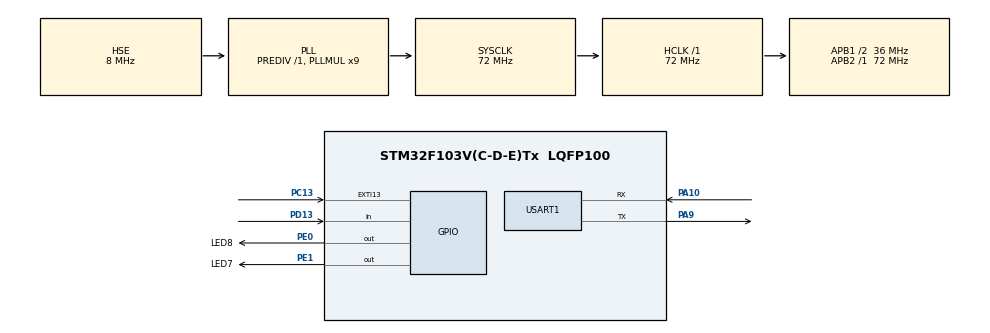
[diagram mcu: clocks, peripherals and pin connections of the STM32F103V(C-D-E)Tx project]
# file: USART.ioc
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Mcu.Family=STM32F1
Mcu.Name=STM32F103V(C-D-E)Tx
Mcu.Package=LQFP100
NVIC.EXTI15_10_IRQn=true\:0\:1\:true\:false\:true\:true\:true
NVIC.PriorityGroup=NVIC_PRIORITYGROUP_2
NVIC.USART1_IRQn=true\:0\:0\:false\:false\:true\:true\:true
OSC_IN.Mode=HSE-External-Oscillator
OSC_IN.Signal=RCC_OSC_IN
OSC_OUT.Mode=HSE-External-Oscillator
OSC_OUT.Signal=RCC_OSC_OUT
PA10.Mode=Asynchronous
PA10.Signal=USART1_RX
PA9.Mode=Asynchronous
PA9.Signal=USART1_TX
PC13-TAMPER-RTC.GPIO_ModeDefaultEXTI=GPIO_MODE_IT_FALLING
PC13-TAMPER-RTC.GPIO_PuPd=GPIO_PULLUP
PC13-TAMPER-RTC.Signal=GPXTI13
PD13.GPIO_PuPd=GPIO_PULLUP
PD13.Signal=GPIO_Input
PE0.GPIO_Label=LED8
PE0.PinState=GPIO_PIN_RESET
PE0.Signal=GPIO_Output
PE1.GPIO_Label=LED7
PE1.Signal=GPIO_Output
ProjectManager.HeapSize=0x200
ProjectManager.StackSize=0x400
ProjectManager.TargetToolchain=MDK-ARM V5
RCC.AHBFreq_Value=72000000
RCC.APB1CLKDivider=RCC_HCLK_DIV2
RCC.APB1Freq_Value=36000000
RCC.APB1TimFreq_Value=72000000
RCC.APB2Freq_Value=72000000
RCC.APB2TimFreq_Value=72000000
RCC.HCLKFreq_Value=72000000
RCC.PLLMUL=RCC_PLL_MUL9
RCC.PLLSourceVirtual=RCC_PLLSOURCE_HSE
RCC.SYSCLKFreq_VALUE=72000000
RCC.SYSCLKSource=RCC_SYSCLKSOURCE_PLLCLK
RCC.USBFreq_Value=72000000
USART1.VirtualMode=VM_ASYNC
VP_SYS_VS_ND.Mode=No_Debug
board=custom

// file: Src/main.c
/* USER CODE BEGIN Header */
/**
  ******************************************************************************
  * @file           : main.c
  * @brief          : Main program body
  ******************************************************************************
  * @attention
  *
  * <h2><center>&copy; Copyright (c) 2021 STMicroelectronics.
  * All rights reserved.</center></h2>
  *
  * This software component is licensed by ST under BSD 3-Clause license,
  * the "License"; You may not use this file except in compliance with the
  * License. You may obtain a copy of the License at:
  *                        opensource.org/licenses/BSD-3-Clause
  *
  ******************************************************************************
  */
/* USER CODE END Header */

#include "main.h"
#include "usart.h"
#include "gpio.h"

void SystemClock_Config(void);

/* USER CODE BEGIN 0 */
void InitXXX(void);
uint8_t flag = 0;
/* USER CODE END 0 */

int main(void)
{
  /* USER CODE BEGIN 1 */
	uint8_t len;
  /* USER CODE END 1 */

  /* MCU Configuration--------------------------------------------------------*/

  /* Reset of all peripherals, Initializes the Flash interface and the Systick. */
  HAL_Init();

  /* Configure the system clock */
  SystemClock_Config();

  /* Initialize all configured peripherals */
  MX_GPIO_Init();
  MX_USART1_UART_Init();

  /* USER CODE BEGIN 2 */
  InitXXX();
  /* USER CODE END 2 */

  /* Infinite loop */
  /* USER CODE BEGIN WHILE */
  while (1)
  {
		if(USART_RX_STA&0x8000)
		{
			len=USART_RX_STA&0x3fff;//得到此次接收到的数据长度
			printf("\r\n您发送的消息为:\r\n");
			HAL_UART_Transmit(&huart1,(uint8_t*)USART_RX_BUF,len,100);	//发送接收到的数据
			while(__HAL_UART_GET_FLAG(&huart1,UART_FLAG_TC)!=SET);		//等待发送结束
			printf("\r\n");//插入换行
			HAL_GPIO_TogglePin(GPIOE,LED7_Pin);
			USART_RX_STA=0;
		}

		if(flag==1)
		{
			flag = 0;
			printf("\r\nKEY1-->PressDown\r\n");
		}
    /* USER CODE END WHILE */

  }
}

void SystemClock_Config(void)
{
  RCC_OscInitTypeDef RCC_OscInitStruct = {0};
  RCC_ClkInitTypeDef RCC_ClkInitStruct = {0};

  /** Initializes the CPU, AHB and APB busses clocks
  */
  RCC_OscInitStruct.OscillatorType = RCC_OSCILLATORTYPE_HSE;
  RCC_OscInitStruct.HSEState = RCC_HSE_ON;
  RCC_OscInitStruct.HSEPredivValue = RCC_HSE_PREDIV_DIV1;
  RCC_OscInitStruct.HSIState = RCC_HSI_ON;
  RCC_OscInitStruct.PLL.PLLState = RCC_PLL_ON;
  RCC_OscInitStruct.PLL.PLLSource = RCC_PLLSOURCE_HSE;
  RCC_OscInitStruct.PLL.PLLMUL = RCC_PLL_MUL9;
  if (HAL_RCC_OscConfig(&RCC_OscInitStruct) != HAL_OK)
  {
    Error_Handler();
  }
  /** Initializes the CPU, AHB and APB busses clocks
  */
  RCC_ClkInitStruct.ClockType = RCC_CLOCKTYPE_HCLK|RCC_CLOCKTYPE_SYSCLK
                              |RCC_CLOCKTYPE_PCLK1|RCC_CLOCKTYPE_PCLK2;
  RCC_ClkInitStruct.SYSCLKSource = RCC_SYSCLKSOURCE_PLLCLK;
  RCC_ClkInitStruct.AHBCLKDivider = RCC_SYSCLK_DIV1;
  RCC_ClkInitStruct.APB1CLKDivider = RCC_HCLK_DIV2;
  RCC_ClkInitStruct.APB2CLKDivider = RCC_HCLK_DIV1;

  if (HAL_RCC_ClockConfig(&RCC_ClkInitStruct, FLASH_LATENCY_2) != HAL_OK)
  {
    Error_Handler();
  }
}

/* USER CODE BEGIN 4 */
void InitXXX(void)
{
	HAL_UART_Receive_IT(&huart1, (uint8_t *)aRxBuffer, RXBUFFERSIZE);
	//该函数会开启接收中断：标志位UART_IT_RXNE，并且设置接收缓冲以及接收缓冲接收最大数据量
}

void HAL_GPIO_EXTI_Callback(uint16_t GPIO_Pin)
{
	switch(GPIO_Pin)
	{
		case GPIO_PIN_13:
			flag =1;
			break;
		default:
			break;

	}
}

void HAL_UART_RxCpltCallback(UART_HandleTypeDef *huart)
{

	if(huart->Instance==USART1)//如果是串口1
	{
		if((USART_RX_STA&0x8000)==0)//接收未完成
		{
			if(USART_RX_STA&0x4000)//接收到了0x0d
			{
				if(aRxBuffer[0]!=0x0a)USART_RX_STA=0;//接收错误,重新开始
				else
				{
					USART_RX_STA|=0x8000;	//接收完成了

				}
			}
			else //还没收到0X0D
			{
				if(aRxBuffer[0]==0x0d)
				{
					USART_RX_STA|=0x4000;
				}
				else
				{
					USART_RX_BUF[USART_RX_STA&0X3FFF]=aRxBuffer[0] ;
					USART_RX_STA++;
					if(USART_RX_STA>(USART_MAX_LEN-1))
						USART_RX_STA=0;//接收数据错误,重新开始接收
				}
			}
		}

		HAL_UART_Receive_IT(&huart1, (uint8_t *)aRxBuffer, RXBUFFERSIZE);
	}

}
/* USER CODE END 4 */

void Error_Handler(void)
{
}

/************************ (C) COPYRIGHT STMicroelectronics *****END OF FILE****/
